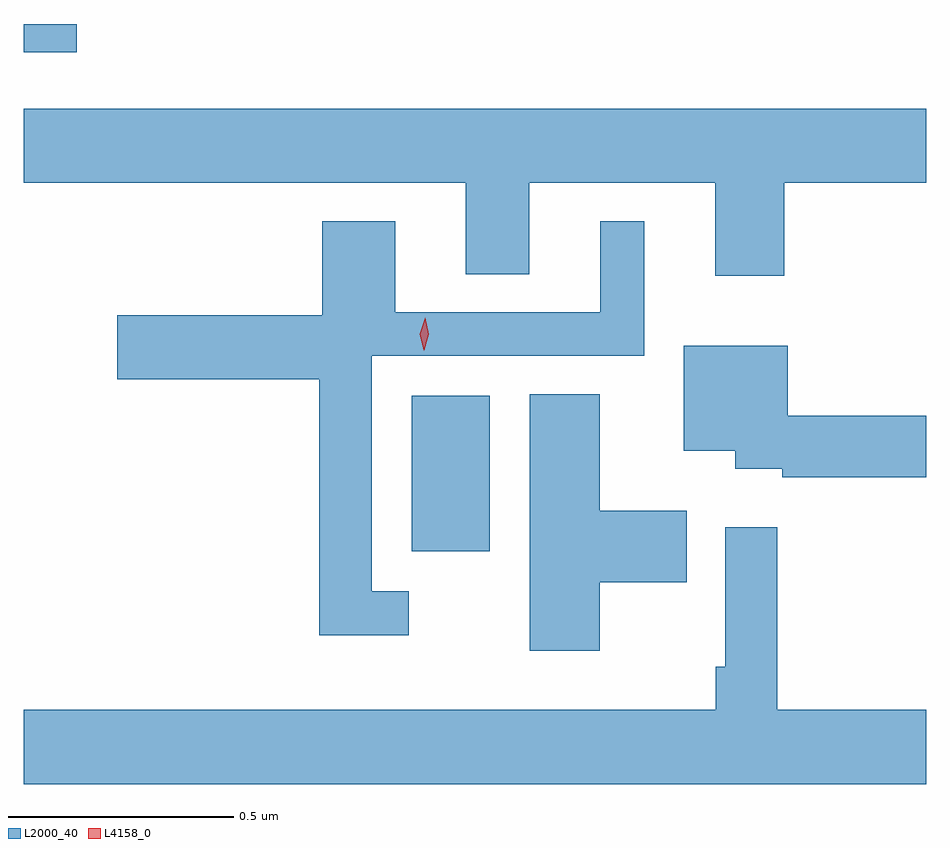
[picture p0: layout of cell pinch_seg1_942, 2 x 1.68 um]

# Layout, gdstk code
import gdstk
lib = gdstk.Library(unit=1e-6, precision=1e-09)
def R(c, l, rs):  # rectangles x0, y0, x1, y1
    for r in rs: c.add(gdstk.rectangle(r[:2], r[2:], *l))
def P(c, l, *ps):  # polygons
    for p in ps: c.add(gdstk.Polygon(p, *l))
L2000_40 = (2000, 40)
L4158_0 = (4158, 0)

pinch_seg1_942 = lib.new_cell('pinch_seg1_942')
R(pinch_seg1_942, L2000_40, [(305.627,536.264,305.8,536.608), (304.767,537.369,304.885,537.432)])
P(pinch_seg1_942, L2000_40, [(306.452,537.08),(306.767,537.08),(306.767,537.244),(304.767,537.244),(304.767,537.08),(305.747,537.08),(305.747,536.878),(305.887,536.878),(305.887,537.08),(306.299,537.08),(306.299,536.874),(306.452,536.874)],
  [(305.62,536.175),(305.538,536.175),(305.538,536.697),(306.142,536.697),(306.142,536.995),(306.044,536.995),(306.044,536.793),(305.59,536.793),(305.59,536.995),(305.429,536.995),(305.429,536.787),(304.974,536.787),(304.974,536.645),(305.422,536.645),(305.422,536.078),(305.62,536.078)],
  [(306.767,536.564),(306.46,536.564),(306.46,536.719),(306.23,536.719),(306.23,536.486),(306.344,536.486),(306.344,536.447),(306.448,536.447),(306.448,536.428),(306.767,536.428)],
  [(306.043,536.195),(306.236,536.195),(306.236,536.353),(306.043,536.353),(306.043,536.612),(305.888,536.612),(305.888,536.043),(306.043,536.043)],
  [(306.767,535.912),(306.437,535.912),(306.437,536.317),(306.321,536.317),(306.321,536.008),(306.301,536.008),(306.301,535.912),(304.767,535.912),(304.767,535.748),(306.767,535.748)])
P(pinch_seg1_942, L4158_0, [(305.653,536.709),(305.653,536.709),(305.645,536.745),(305.657,536.781),(305.657,536.781),(305.657,536.781),(305.665,536.744),(305.654,536.709)])

lib.write_gds('pinch_seg1_942.gds')
